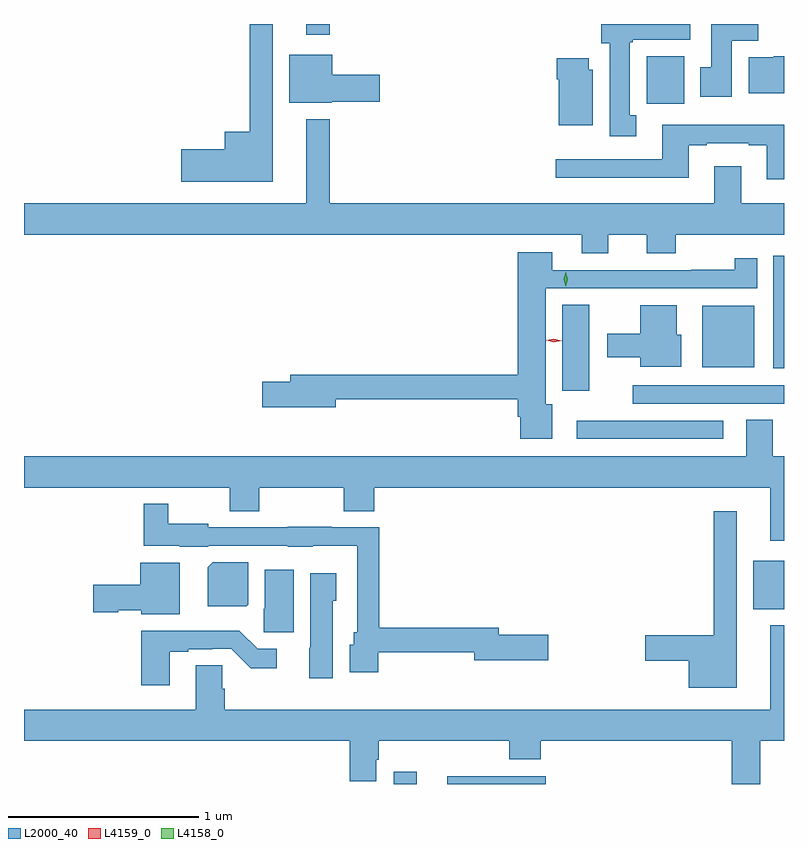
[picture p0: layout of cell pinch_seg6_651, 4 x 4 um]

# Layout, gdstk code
import gdstk
lib = gdstk.Library(unit=1e-6, precision=1e-09)
def R(c, l, rs):  # rectangles x0, y0, x1, y1
    for r in rs: c.add(gdstk.rectangle(r[:2], r[2:], *l))
def P(c, l, *ps):  # polygons
    for p in ps: c.add(gdstk.Polygon(p, *l))
L2000_40 = (2000, 40)
L4158_0 = (4158, 0)
L4159_0 = (4159, 0)

pinch_seg6_651 = lib.new_cell('pinch_seg6_651')
R(pinch_seg6_651, L2000_40, [(406.898,919.136,407.02,919.201), (407.181,919.136,407.699,919.178), (408.791,920.057,408.953,920.311), (407.862,920.952,408.634,921.048), (408.156,921.138,408.953,921.234), (407.786,921.207,407.929,921.659), (408.896,921.323,408.953,921.916), (408.524,921.329,408.796,921.652), (408.231,922.716,408.427,922.966), (406.439,923.079,406.561,923.136)])
P(pinch_seg6_651, L2000_40, [(408.679,923.048),(408.818,923.048),(408.818,923.136),(408.569,923.136),(408.569,922.908),(408.512,922.908),(408.512,922.752),(408.679,922.752)],
  [(408.175,922.657),(408.142,922.657),(408.142,923.041),(408.156,923.041),(408.156,923.054),(408.46,923.054),(408.46,923.136),(407.99,923.136),(407.99,923.034),(408.035,923.034),(408.035,922.545),(408.175,922.545)],
  [(406.261,923.136),(406.14,923.136),(406.14,922.57),(406.01,922.57),(406.01,922.478),(405.78,922.478),(405.78,922.307),(406.261,922.307)],
  [(406.572,922.727),(406.825,922.727),(406.825,922.869),(406.576,922.869),(406.576,922.975),(406.349,922.975),(406.349,922.721),(406.572,922.721)],
  [(408.953,922.966),(408.9,922.966),(408.9,922.96),(408.767,922.96),(408.767,922.772),(408.953,922.772)],
  [(407.947,922.896),(407.926,922.896),(407.926,922.957),(407.756,922.957),(407.756,922.844),(407.768,922.844),(407.768,922.604),(407.947,922.604)],
  [(408.028,922.028),(408.23,922.028),(408.23,921.929),(408.383,921.929),(408.383,922.028),(408.953,922.028),(408.953,922.192),(408.727,922.192),(408.727,922.387),(408.587,922.387),(408.587,922.192),(406.561,922.192),(406.561,922.636),(406.439,922.636),(406.439,922.192),(404.953,922.192),(404.953,922.028),(407.888,922.028),(407.888,921.929),(408.028,921.929)],
  [(408.953,922.606),(408.311,922.606),(408.311,922.425),(407.751,922.425),(407.751,922.328),(408.451,922.328),(408.451,922.497),(408.547,922.497),(408.547,922.509),(408.767,922.509),(408.767,922.497),(408.863,922.497),(408.863,922.32),(408.953,922.32)],
  [(407.734,921.136),(407.698,921.136),(407.698,921.744),(408.811,921.744),(408.811,921.904),(408.694,921.904),(408.694,921.842),(408.466,921.842),(408.466,921.84),(407.734,921.84),(407.734,921.934),(407.552,921.934),(407.552,921.29),(406.355,921.29),(406.355,921.254),(406.206,921.254),(406.206,921.119),(406.594,921.119),(406.594,921.162),(407.552,921.162),(407.552,921.068),(407.564,921.068),(407.564,920.954),(407.734,920.954)],
  [(408.412,921.501),(408.388,921.501),(408.388,921.655),(408.197,921.655),(408.197,921.505),(408.024,921.505),(408.024,921.383),(408.197,921.383),(408.197,921.332),(408.412,921.332)],
  [(408.953,920.86),(408.895,920.86),(408.895,921.053),(408.755,921.053),(408.755,920.86),(404.953,920.86),(404.953,920.696),(406.036,920.696),(406.036,920.572),(406.191,920.572),(406.191,920.696),(406.636,920.696),(406.636,920.572),(406.796,920.572),(406.796,920.696),(408.881,920.696),(408.881,920.415),(408.953,920.415)],
  [(406.817,919.83),(407.324,919.83),(407.324,919.787),(407.713,919.787),(407.713,919.922),(407.452,919.922),(407.452,919.958),(406.823,919.958),(406.823,920.487),(406.573,920.487),(406.573,920.489),(406.341,920.489),(406.341,920.487),(405.924,920.487),(405.924,920.506),(405.712,920.506),(405.712,920.611),(405.583,920.611),(405.583,920.39),(405.774,920.39),(405.774,920.384),(405.924,920.384),(405.924,920.391),(406.341,920.391),(406.341,920.384),(406.473,920.384),(406.473,920.39),(406.707,920.39),(406.707,919.935),(406.688,919.935),(406.688,919.869),(406.667,919.869),(406.667,919.725),(406.817,919.725)],
  [(408.703,920.572),(408.582,920.572),(408.582,919.919),(408.222,919.919),(408.222,919.784),(408.452,919.784),(408.452,919.643),(408.703,919.643)],
  [(406.132,920.08),(406.132,920.302),(405.946,920.302),(405.92,920.276),(405.92,920.072),(406.124,920.072)],
  [(405.772,920.3),(405.566,920.3),(405.566,920.186),(405.318,920.186),(405.318,920.039),(405.45,920.039),(405.45,920.051),(405.57,920.051),(405.57,920.03),(405.772,920.03)],
  [(406.372,920.263),(406.22,920.263),(406.22,920.058),(406.216,920.058),(406.216,919.935),(406.372,919.935)],
  [(406.579,920.1),(406.597,920.1),(406.597,920.245),(406.46,920.245),(406.46,919.854),(406.454,919.854),(406.454,919.692),(406.579,919.692)],
  [(408.829,919.364),(408.953,919.364),(408.953,919.972),(408.881,919.972),(408.881,919.528),(406.01,919.528),(406.01,919.638),(405.996,919.638),(405.996,919.76),(405.857,919.76),(405.857,919.528),(404.953,919.528),(404.953,919.364),(406.667,919.364),(406.667,919.151),(406.807,919.151),(406.807,919.263),(406.82,919.263),(406.82,919.364),(407.507,919.364),(407.507,919.265),(407.672,919.265),(407.672,919.364),(408.677,919.364),(408.677,919.136),(408.829,919.136)],
  [(405.721,919.833),(405.817,919.833),(405.817,919.845),(405.944,919.845),(405.944,919.848),(406.044,919.848),(406.147,919.746),(406.282,919.746),(406.282,919.848),(406.182,919.848),(406.087,919.943),(405.569,919.943),(405.569,919.656),(405.721,919.656)])
P(pinch_seg6_651, L4158_0, [(407.804,921.757),(407.804,921.757),(407.795,921.793),(407.805,921.829),(407.805,921.829),(407.805,921.829),(407.815,921.793),(407.804,921.757)])
P(pinch_seg6_651, L4159_0, [(407.742,921.46),(407.701,921.471),(407.701,921.471),(407.701,921.471),(407.742,921.48),(407.783,921.469),(407.783,921.469),(407.783,921.469)])

lib.write_gds('pinch_seg6_651.gds')
